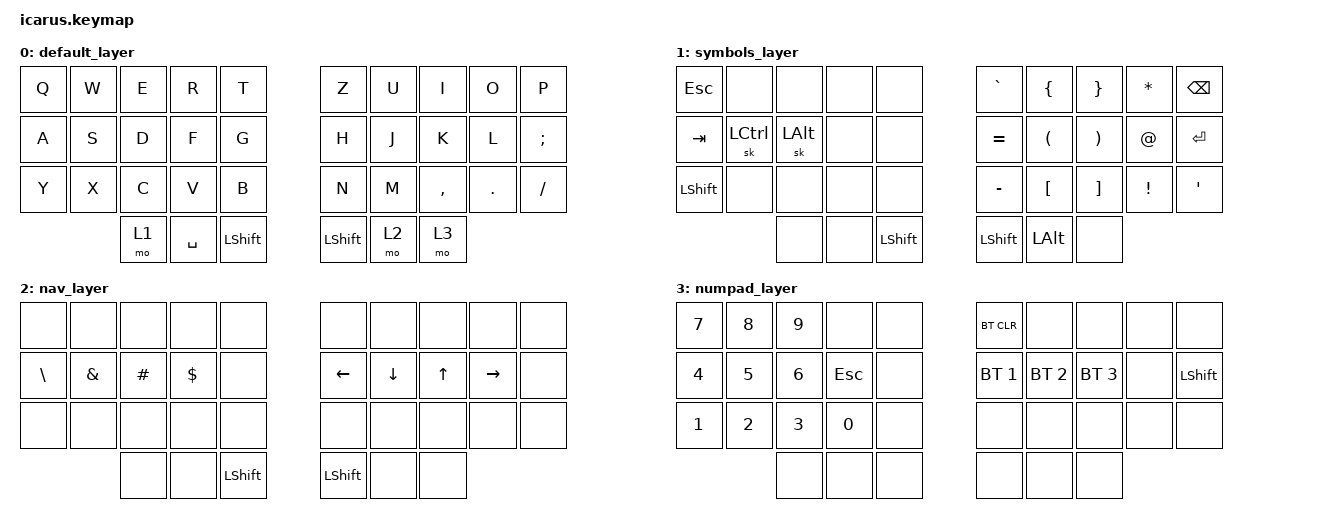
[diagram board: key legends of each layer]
#include <behaviors.dtsi>
#include <dt-bindings/zmk/keys.h>
#include <dt-bindings/zmk/bt.h>

/ {
  keymap {
    compatible = "zmk,keymap";

    default_layer {
      bindings = <
        &kp Q &kp W &kp E &kp R &kp T &kp Z &kp U &kp I &kp O &kp P
        &kp A &kp S &kp D &kp F &kp G &kp H &kp J &kp K &kp L &kp SEMICOLON
        &kp Y &kp X &kp C &kp V &kp B &kp N &kp M &kp COMMA &kp PERIOD &kp SLASH
        &mo 1 &kp SPACE &kp LSHIFT &kp LSHIFT &mo 2 &mo 3
      >;
    };

    symbols_layer {
      bindings = <
        &kp ESC &none &none &none &none &kp GRAVE &kp LEFT_BRACE &kp RIGHT_BRACE &kp ASTERISK &kp BACKSPACE
        &kp TAB &sk LEFT_CONTROL &sk LEFT_ALT &none &none &kp EQUAL &kp LEFT_PARENTHESIS &kp RIGHT_PARENTHESIS &kp AT_SIGN &kp RETURN
        &kp LEFT_SHIFT &none &none &none &none &kp MINUS &kp LEFT_BRACKET &kp RIGHT_BRACKET &kp EXCLAMATION &kp SINGLE_QUOTE
        &none &none &kp LSHIFT &kp LSHIFT &kp LALT &none
      >;
    };

    nav_layer {
      bindings = <
        &none &none &none &none &none &none &none &none &none &none
        &kp BSLH &kp AMPS &kp HASH &kp DOLLAR &none &kp LEFT &kp DOWN &kp UP &kp RIGHT &none
        &none &none &none &none &none &none &none &none &none &none
        &none &none &kp LSHIFT &kp LSHIFT &none &none
      >;
    };

    numpad_layer {
      bindings = <
        &kp NUMBER_7 &kp NUMBER_8 &kp NUMBER_9 &none &none &bt BT_CLR &none &none &none &none
        &kp NUMBER_4 &kp NUMBER_5 &kp NUMBER_6 &kp ESC &none &bt BT_SEL 1 &bt BT_SEL 2 &bt BT_SEL 3 &none &kp LEFT_SHIFT
        &kp NUMBER_1 &kp NUMBER_2 &kp NUMBER_3 &kp NUMBER_0 &none &none &none &none &none &none
        &none &none &none &none &none &none
      >;
    };
  };
};
